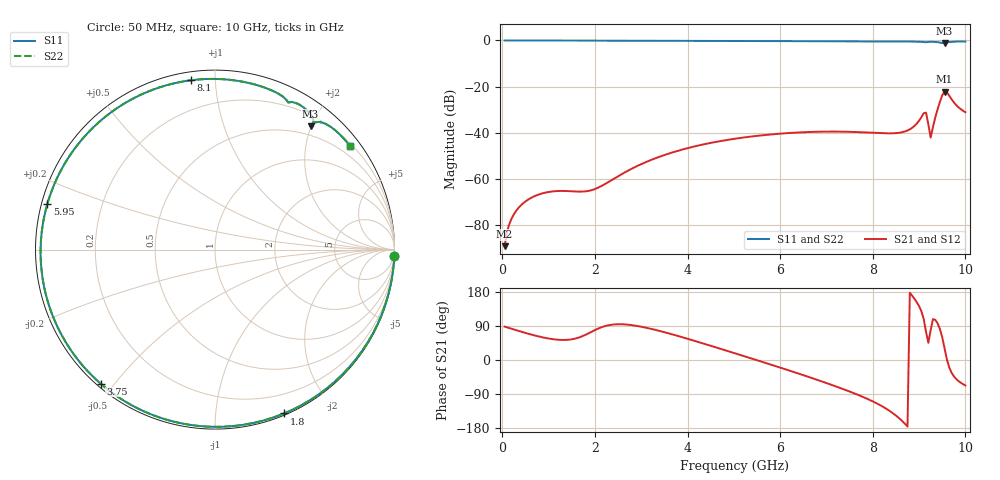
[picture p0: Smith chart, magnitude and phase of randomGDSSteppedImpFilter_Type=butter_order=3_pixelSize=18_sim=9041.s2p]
! freq	dB(S11)	phase(S11)	dB(S12)	phase(S12)
!  dB(S21)	phase(S21)	dB(S22)	phase(S22)
!S-par simulation data
#  GHz  S  DB  R 50
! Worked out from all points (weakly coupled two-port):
!   200 points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, 50 MHz to 10 GHz, reference 50 ohm
!   highest |S21| = -22.16 dB at 9.55 GHz (marker M1); lowest = -89.2 dB at 50 MHz (marker M2)
!   lowest |S11| = -1.2 dB at 9.55 GHz (marker M3), VSWR 14.30, Z = 17.7 + j99.5 ohm
!   |S11| at or under -10 dB: nowhere
!   |S22| runs from -1.2 to 0.0 dB; largest |S21 - S12| = 0
!   S11 on the Smith chart (normalised r, x): 50 MHz: 0, -59; 1.8 GHz: 0.02, -1.51; 3.75 GHz: 0.01, -0.46; 5.95 GHz: 0.02, +0.13; 8.1 GHz: 0.04, +0.87; 10 GHz: 0.26, +2.94
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0.05  -0.00 -2.0  -89.17 88.1  -89.17 88.1  -0.00 -2.0
0.15  -0.01 -5.8  -79.68 84.3  -79.68 84.3  -0.01 -5.8
0.4  -0.02 -15.4  -71.50 75.0  -71.50 75.0  -0.02 -15.4
0.7  -0.04 -26.8  -67.46 64.7  -67.46 64.7  -0.04 -26.8
1.1  -0.05 -41.9  -65.41 54.8  -65.41 54.8  -0.05 -41.8
1.75  -0.08 -65.4  -65.49 63.8  -65.49 63.8  -0.08 -65.4
1.8  -0.08 -67.2  -65.40 66.6  -65.40 66.6  -0.08 -67.1
2.55  -0.11 -92.7  -58.27 94.5  -58.27 94.5  -0.11 -92.7
3.4  -0.15 -119.8  -50.37 76.6  -50.37 76.6  -0.15 -119.8
3.75  -0.16 -130.5  -48.08 64.9  -48.08 64.9  -0.16 -130.5
5.05  -0.23 -168.9  -42.52 16.7  -42.52 16.7  -0.23 -168.9
5.95  -0.28 164.8  -40.48 -18.1  -40.48 -18.1  -0.28 164.8
6.7  -0.33 142.4  -39.63 -48.2  -39.63 -48.2  -0.33 142.4
7.45  -0.38 119.1  -39.58 -80.9  -39.58 -80.9  -0.38 119.1
8.1  -0.42 98.2  -40.13 -115.3  -40.13 -115.3  -0.42 98.2
8.35  -0.44 90.0  -40.27 -133.2  -40.27 -133.2  -0.44 90.0
8.8  -0.49 74.8  -38.52 177.4  -38.52 177.4  -0.49 74.8
9.15  -0.77 63.5  -31.29 74.0  -31.29 74.0  -0.77 63.5
9.25  -0.58 60.3  -42.10 79.1  -42.10 79.1  -0.58 60.3
9.4  -0.74 54.2  -29.83 96.5  -29.83 96.5  -0.74 54.2
9.55  -1.22 52.2  -22.16 30.7  -22.16 30.7  -1.22 52.2
10  -0.46 37.3  -31.10 -67.1  -31.10 -67.1  -0.46 37.3
